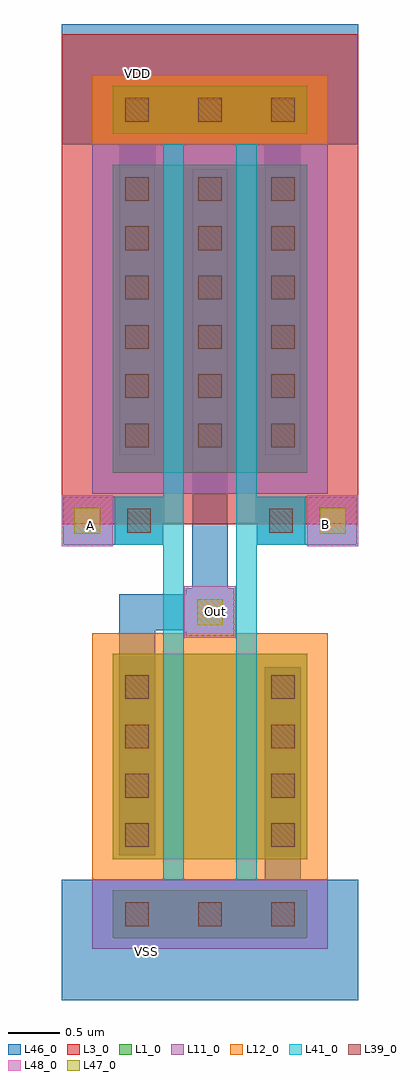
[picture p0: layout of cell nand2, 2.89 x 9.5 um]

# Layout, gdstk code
import gdstk
lib = gdstk.Library(unit=1e-6, precision=1e-09)
def R(c, l, rs):  # rectangles x0, y0, x1, y1
    for r in rs: c.add(gdstk.rectangle(r[:2], r[2:], *l))
def A(c, l, x, y, w, h, nx, ny, dx, dy):  # array of equal rectangles
    R(c, l, [(x+i*dx, y+j*dy, x+i*dx+w, y+j*dy+h) for i in range(nx) for j in range(ny)])
L1_0 = (1, 0)
L3_0 = (3, 0)
L11_0 = (11, 0)
L12_0 = (12, 0)
L39_0 = (39, 0)
L41_0 = (41, 0)
L46_0 = (46, 0)
L47_0 = (47, 0)
L48_0 = (48, 0)

nand2 = lib.new_cell('nand2')
R(nand2, L1_0, [(-2.92,0.945,-1.03,1.415), (-2.92,1.715,-1.03,3.715), (-2.92,5.475,-1.03,8.475), (-2.92,8.775,-1.03,9.245)])
R(nand2, L3_0, [(-3.42,4.975,-0.53,9.745)])
R(nand2, L11_0, [(-3.12,0.845,-0.83,1.515), (-3.12,5.275,-0.83,8.675)])
R(nand2, L12_0, [(-3.12,1.515,-0.83,3.915), (-3.12,8.675,-0.83,9.345)])
A(nand2, L39_0, -2.8, 1.065, 0.23, 0.23, 3, 2, 0.71, 4.66)
A(nand2, L39_0, -2.8, 1.835, 0.23, 0.23, 1, 4, 0, 0.48)
A(nand2, L39_0, -1.38, 1.835, 0.23, 0.23, 1, 4, 0, 0.48)
A(nand2, L39_0, -2.8, 6.205, 0.23, 0.23, 3, 5, 0.71, 0.48)
A(nand2, L39_0, -2.8, 8.895, 0.23, 0.23, 3, 1, 0.71, 0)
R(nand2, L39_0, [(-2.78,4.895,-2.55,5.125), (-1.4,4.895,-1.17,5.125)])
R(nand2, L41_0, [(-2.43,1.515,-2.23,8.675), (-1.72,1.515,-1.52,8.675), (-2.9,4.775,-2.23,5.245), (-1.72,4.775,-1.05,5.245)])
R(nand2, L46_0, [(-3.42,0.345,-0.53,1.515), (-1.44,1.295,-1.09,3.585), (-2.86,1.755,-2.51,4.295), (-2.21,3.885,-1.74,4.355), (-2.86,3.945,-1.8,4.295), (-2.15,3.945,-1.8,8.435), (-3.405,4.775,-2.43,5.245), (-1.52,4.775,-0.545,5.245), (-2.86,5.645,-2.51,8.895), (-1.44,5.645,-1.09,8.895), (-3.42,8.675,-0.53,9.845)])
R(nand2, L47_0, [(-2.1,3.995,-1.85,4.245), (-3.295,4.885,-3.045,5.135), (-0.905,4.885,-0.655,5.135)])
R(nand2, L48_0, [(-2.225,3.87,-1.725,4.37), (-3.42,4.76,-2.92,5.26), (-1.03,4.76,-0.53,5.26)])
nand2.add(gdstk.Label('VSS', (-2.59,0.815), layer=101, texttype=0))
nand2.add(gdstk.Label('VDD', (-2.685,9.365), layer=101, texttype=0))
nand2.add(gdstk.Label('B', (-0.85,4.975), layer=102, texttype=0))
nand2.add(gdstk.Label('A', (-3.135,4.96), layer=102, texttype=0))
nand2.add(gdstk.Label('Out', (-1.925,4.13), layer=102, texttype=0))

lib.write_gds('nand2.gds')
